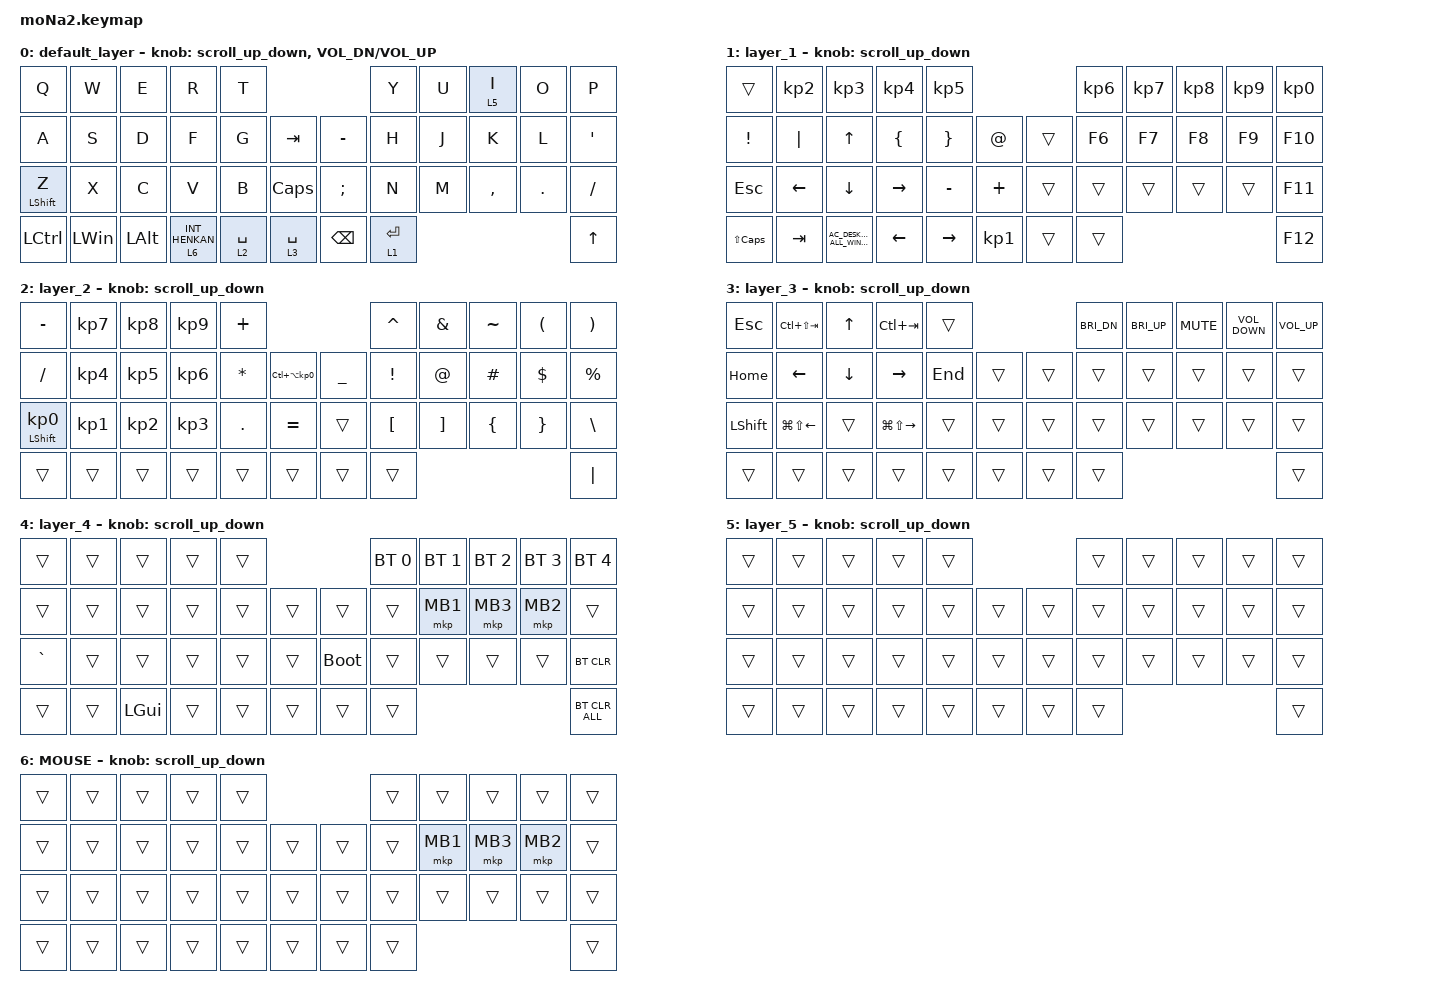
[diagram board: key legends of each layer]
#include <behaviors.dtsi>
#include <dt-bindings/zmk/bt.h>
#include <dt-bindings/zmk/keys.h>
#include <dt-bindings/zmk/pointing.h>

#define ZMK_POINTING_DEFAULT_SCRL_VAL 100
#define MOUSE 6

&mt {
    flavor = "balanced";
    quick-tap-ms = <0>;
};

/ {
    combos { compatible = "zmk,combos"; };

    macros {
        to_layer_0: to_layer_0 {
            compatible = "zmk,behavior-macro-one-param";
            #binding-cells = <1>;
            bindings = <&to 0 &macro_param_1to1 &kp MACRO_PLACEHOLDER>;
            label = "TO_LAYER_0";
        };
    };

    behaviors {
        lt_to_layer_0: lt_to_layer_0 {
            compatible = "zmk,behavior-hold-tap";
            label = "LAYER_TAP_TO_0";
            bindings = <&mo>, <&to_layer_0>;

            #binding-cells = <2>;
            tapping-term-ms = <200>;
        };

        scroll_up_down: behavior_sensor_rotate_mouse_wheel_up_down {
            compatible = "zmk,behavior-sensor-rotate";
            #sensor-binding-cells = <0>;
            bindings = <&msc SCRL_UP>, <&msc SCRL_DOWN>;

            tap-ms = <20>;
        };
    };

    keymap {
        compatible = "zmk,keymap";

        default_layer {
            bindings = <
&kp Q             &kp W         &kp E         &kp R                        &kp T                                                 &kp Y        &kp U  &lt 5 I    &kp O    &kp P
&kp A             &kp S         &kp D         &kp F                        &kp G        &kp TAB                   &kp MINUS      &kp H        &kp J  &kp K      &kp L    &kp SQT
&mt LEFT_SHIFT Z  &kp X         &kp C         &kp V                        &kp B        &kp CAPS                  &kp SEMICOLON  &kp N        &kp M  &kp COMMA  &kp DOT  &kp SLASH
&kp LCTRL         &kp LEFT_WIN  &kp LEFT_ALT  &lt_to_layer_0 6 INT_HENKAN  &lt 2 SPACE  &lt_to_layer_0 3 SPACE    &kp BACKSPACE  &lt 1 ENTER                             &kp UP_ARROW
            >;

            sensor-bindings =
                <&scroll_up_down>,
                <&inc_dec_kp C_VOL_DN C_VOL_UP>;
        };

        layer_1 {
            bindings = <
&trans           &kp KP_NUMBER_2  &kp KP_NUMBER_3                    &kp KP_NUMBER_4  &kp KP_NUMBER_5                             &kp KP_NUMBER_6  &kp KP_NUMBER_7  &kp KP_NUMBER_8  &kp KP_NUMBER_9  &kp KP_NUMBER_0
&kp EXCLAMATION  &kp PIPE         &kp UP_ARROW                       &kp LEFT_BRACE   &kp RIGHT_BRACE  &kp AT_SIGN        &trans  &kp F6           &kp F7           &kp F8           &kp F9           &kp F10
&kp ESC          &kp LEFT         &kp DOWN_ARROW                     &kp RIGHT        &kp MINUS        &kp PLUS           &trans  &trans           &trans           &trans           &trans           &kp F11
&kp LS(CAPS)     &kp TAB          &kp C_AC_DESKTOP_SHOW_ALL_WINDOWS  &kp LEFT         &kp RIGHT        &kp KP_NUMBER_1    &trans  &trans                                                              &kp F12
            >;

            sensor-bindings = <&scroll_up_down>;
        };

        layer_2 {
            bindings = <
&kp MINUS                   &kp KP_NUMBER_7  &kp KP_NUMBER_8  &kp KP_NUMBER_9  &kp PLUS                                                 &kp CARET         &kp AMPERSAND      &kp TILDE       &kp LEFT_PARENTHESIS  &kp RIGHT_PARENTHESIS
&kp SLASH                   &kp KP_NUMBER_4  &kp KP_NUMBER_5  &kp KP_NUMBER_6  &kp ASTERISK  &kp LC(LA(KP_NUMBER_0))    &kp UNDERSCORE  &kp EXCLAMATION   &kp AT_SIGN        &kp HASH        &kp DOLLAR            &kp PERCENT
&mt LEFT_SHIFT KP_NUMBER_0  &kp KP_NUMBER_1  &kp KP_NUMBER_2  &kp KP_NUMBER_3  &kp PERIOD    &kp EQUAL                  &trans          &kp LEFT_BRACKET  &kp RIGHT_BRACKET  &kp LEFT_BRACE  &kp RIGHT_BRACE       &kp BACKSLASH
&trans                      &trans           &trans           &trans           &trans        &trans                     &trans          &trans                                                                     &kp PIPE
            >;

            sensor-bindings = <&scroll_up_down>;
        };

        layer_3 {
            bindings = <
&kp ESCAPE      &kp LC(LS(TAB))         &kp UP_ARROW    &kp LC(TAB)              &trans                     &kp C_BRI_DN  &kp C_BRI_UP  &kp K_MUTE  &kp C_VOLUME_DOWN  &kp C_VOLUME_UP
&kp HOME        &kp LEFT_ARROW          &kp DOWN_ARROW  &kp RIGHT_ARROW          &kp END  &trans    &trans  &trans        &trans        &trans      &trans             &trans
&kp LEFT_SHIFT  &kp LG(LS(LEFT_ARROW))  &trans          &kp LG(LS(RIGHT_ARROW))  &trans   &trans    &trans  &trans        &trans        &trans      &trans             &trans
&trans          &trans                  &trans          &trans                   &trans   &trans    &trans  &trans                                                     &trans
            >;

            sensor-bindings = <&scroll_up_down>;
        };

        layer_4 {
            bindings = <
&trans     &trans  &trans        &trans  &trans                         &bt BT_SEL 0  &bt BT_SEL 1  &bt BT_SEL 2  &bt BT_SEL 3  &bt BT_SEL 4
&trans     &trans  &trans        &trans  &trans  &trans    &trans       &trans        &mkp MB1      &mkp MB3      &mkp MB2      &trans
&kp GRAVE  &trans  &trans        &trans  &trans  &trans    &bootloader  &trans        &trans        &trans        &trans        &bt BT_CLR
&trans     &trans  &kp LEFT_GUI  &trans  &trans  &trans    &trans       &trans                                                  &bt BT_CLR_ALL
            >;

            sensor-bindings = <&scroll_up_down>;
        };

        layer_5 {
            bindings = <
&trans  &trans  &trans  &trans  &trans                    &trans  &trans  &trans  &trans  &trans
&trans  &trans  &trans  &trans  &trans  &trans    &trans  &trans  &trans  &trans  &trans  &trans
&trans  &trans  &trans  &trans  &trans  &trans    &trans  &trans  &trans  &trans  &trans  &trans
&trans  &trans  &trans  &trans  &trans  &trans    &trans  &trans                          &trans
            >;

            sensor-bindings = <&scroll_up_down>;
        };

        MOUSE {
            bindings = <
&trans  &trans  &trans  &trans  &trans                    &trans  &trans    &trans    &trans    &trans
&trans  &trans  &trans  &trans  &trans  &trans    &trans  &trans  &mkp MB1  &mkp MB3  &mkp MB2  &trans
&trans  &trans  &trans  &trans  &trans  &trans    &trans  &trans  &trans    &trans    &trans    &trans
&trans  &trans  &trans  &trans  &trans  &trans    &trans  &trans                                &trans
            >;

            sensor-bindings = <&scroll_up_down>;
        };
    };
};
